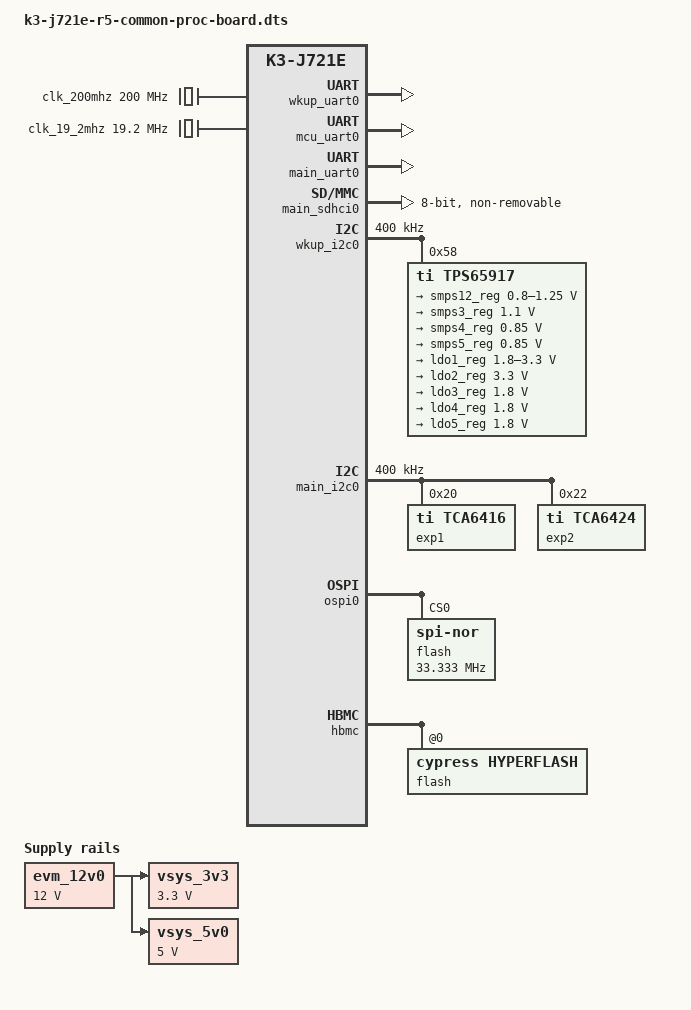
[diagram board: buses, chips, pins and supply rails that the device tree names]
// SPDX-License-Identifier: GPL-2.0
/*
 * Copyright (C) 2019 Texas Instruments Incorporated - http://www.ti.com/
 */

/dts-v1/;

#include "k3-j721e-som-p0.dtsi"

/ {
	aliases {
		remoteproc0 = &sysctrler;
		remoteproc1 = &a72_0;
		remoteproc2 = &main_r5fss0_core0;
		remoteproc3 = &main_r5fss0_core1;
	};

	chosen {
		stdout-path = "serial2:115200n8";
		tick-timer = &timer1;
		firmware-loader = &fs_loader0;
	};

	fs_loader0: fs_loader@0 {
		u-boot,dm-pre-reloc;
		compatible = "u-boot,fs-loader";
	};

	a72_0: a72@0 {
		compatible = "ti,am654-rproc";
		reg = <0x0 0x00a90000 0x0 0x10>;
		power-domains = <&k3_pds 61 TI_SCI_PD_SHARED>,
				<&k3_pds 202 TI_SCI_PD_SHARED>;
		resets = <&k3_reset 202 0>;
		assigned-clocks = <&k3_clks 202 2>, <&k3_clks 61 1>;
		assigned-clock-rates = <2000000000>, <200000000>;
		ti,sci = <&dmsc>;
		ti,sci-proc-id = <32>;
		ti,sci-host-id = <10>;
		u-boot,dm-spl;
	};

	clk_200mhz: dummy_clock {
		compatible = "fixed-clock";
		#clock-cells = <0>;
		clock-frequency = <200000000>;
		u-boot,dm-spl;
	};

	clk_19_2mhz: dummy_clock {
		compatible = "fixed-clock";
		#clock-cells = <0>;
		clock-frequency = <19200000>;
		u-boot,dm-spl;
	};

	memorycontroller: memorycontroller@02980000 {
		compatible = "ti,j721e-ddrss";
		reg = <0x0 0x02990000 0x0 0x4000>;
		power-domains = <&k3_pds 47 TI_SCI_PD_SHARED>,
				<&k3_pds 90 TI_SCI_PD_SHARED>;
		clocks = <&k3_clks 47 2>, <&k3_clks 30 9>;

		u-boot,dm-spl;
	};

};

&cbass_mcu_wakeup {
	mcu_secproxy: secproxy@28380000 {
		u-boot,dm-spl;
		compatible = "ti,am654-secure-proxy";
		reg = <0x0 0x2a380000 0x0 0x80000>,
		      <0x0 0x2a400000 0x0 0x80000>,
		      <0x0 0x2a480000 0x0 0x80000>;
		reg-names = "rt", "scfg", "target_data";
		#mbox-cells = <1>;
	};

	sysctrler: sysctrler {
		u-boot,dm-spl;
		compatible = "ti,am654-system-controller";
		mboxes= <&mcu_secproxy 4>, <&mcu_secproxy 5>;
		mbox-names = "tx", "rx";
	};

	evm_12v0: fixedregulator-evm12v0 {
		/* main supply */
		compatible = "regulator-fixed";
		regulator-name = "evm_12v0";
		regulator-min-microvolt = <12000000>;
		regulator-max-microvolt = <12000000>;
		regulator-always-on;
		regulator-boot-on;
		u-boot,dm-spl;
	};

	vsys_3v3: fixedregulator-vsys3v3 {
		/* Output of LMS140 */
		compatible = "regulator-fixed";
		regulator-name = "vsys_3v3";
		regulator-min-microvolt = <3300000>;
		regulator-max-microvolt = <3300000>;
		vin-supply = <&evm_12v0>;
		regulator-always-on;
		regulator-boot-on;
		u-boot,dm-spl;
	};

	vsys_5v0: fixedregulator-vsys5v0 {
		/* Output of LM5140 */
		compatible = "regulator-fixed";
		regulator-name = "vsys_5v0";
		regulator-min-microvolt = <5000000>;
		regulator-max-microvolt = <5000000>;
		vin-supply = <&evm_12v0>;
		regulator-always-on;
		regulator-boot-on;
		u-boot,dm-spl;
	};
};

&dmsc {
	mboxes= <&mcu_secproxy 8>, <&mcu_secproxy 6>, <&mcu_secproxy 5>;
	mbox-names = "tx", "rx", "notify";
	ti,host-id = <4>;
	ti,secure-host;
};

&wkup_pmx0 {
	wkup_uart0_pins_default: wkup_uart0_pins_default {
		u-boot,dm-spl;
		pinctrl-single,pins = <
			J721E_WKUP_IOPAD(0xa0, PIN_INPUT, 0) /* (J29) WKUP_UART0_RXD */
			J721E_WKUP_IOPAD(0xa4, PIN_OUTPUT, 0) /* (J28) WKUP_UART0_TXD */
		>;
	};

	mcu_uart0_pins_default: mcu_uart0_pins_default {
		u-boot,dm-spl;
		pinctrl-single,pins = <
			J721E_WKUP_IOPAD(0xe8, PIN_INPUT, 0) /* (H29) WKUP_GPIO0_14.MCU_UART0_CTSn */
			J721E_WKUP_IOPAD(0xec, PIN_OUTPUT, 0) /* (J27) WKUP_GPIO0_15.MCU_UART0_RTSn */
			J721E_WKUP_IOPAD(0xe4, PIN_INPUT, 0) /* (H28) WKUP_GPIO0_13.MCU_UART0_RXD */
			J721E_WKUP_IOPAD(0xe0, PIN_OUTPUT, 0) /* (G29) WKUP_GPIO0_12.MCU_UART0_TXD */
		>;
	};

	wkup_i2c0_pins_default: wkup-i2c0-pins-default {
		pinctrl-single,pins = <
			J721E_WKUP_IOPAD(0xf8, PIN_INPUT_PULLUP, 0) /* (J25) WKUP_I2C0_SCL */
			J721E_WKUP_IOPAD(0xfc, PIN_INPUT_PULLUP, 0) /* (H24) WKUP_I2C0_SDA */
		>;
	};

	mcu_fss0_ospi0_pins_default: mcu-fss0-ospi0-pins-default {
		pinctrl-single,pins = <
			J721E_WKUP_IOPAD(0x0000, PIN_OUTPUT, 0) /* MCU_OSPI0_CLK */
			J721E_WKUP_IOPAD(0x0008, PIN_INPUT, 0)  /* MCU_OSPI0_DQS */
			J721E_WKUP_IOPAD(0x000c, PIN_INPUT, 0)  /* MCU_OSPI0_D0 */
			J721E_WKUP_IOPAD(0x0010, PIN_INPUT, 0)  /* MCU_OSPI0_D1 */
			J721E_WKUP_IOPAD(0x0014, PIN_INPUT, 0)  /* MCU_OSPI0_D2 */
			J721E_WKUP_IOPAD(0x0018, PIN_INPUT, 0)  /* MCU_OSPI0_D3 */
			J721E_WKUP_IOPAD(0x001c, PIN_INPUT, 0)  /* MCU_OSPI0_D4 */
			J721E_WKUP_IOPAD(0x0020, PIN_INPUT, 0)  /* MCU_OSPI0_D5 */
			J721E_WKUP_IOPAD(0x0024, PIN_INPUT, 0)  /* MCU_OSPI0_D6 */
			J721E_WKUP_IOPAD(0x0028, PIN_INPUT, 0)  /* MCU_OSPI0_D7 */
			J721E_WKUP_IOPAD(0x002c, PIN_OUTPUT, 0) /* MCU_OSPI0_CSn0 */
		>;
	};

	mcu_fss0_hpb0_pins_default: mcu-fss0-hpb0-pins-default {
		pinctrl-single,pins = <
			J721E_WKUP_IOPAD(0x0, PIN_OUTPUT, 1) /* (E20) MCU_OSPI0_CLK.MCU_HYPERBUS0_CK */
			J721E_WKUP_IOPAD(0x4, PIN_OUTPUT, 1) /* (C21) MCU_OSPI0_LBCLKO.MCU_HYPERBUS0_CKn */
			J721E_WKUP_IOPAD(0x2c, PIN_OUTPUT, 1) /* (F19) MCU_OSPI0_CSn0.MCU_HYPERBUS0_CSn0 */
			J721E_WKUP_IOPAD(0x54, PIN_OUTPUT, 3) /* (E22) MCU_OSPI1_CSn1.MCU_HYPERBUS0_CSn1 */
			J721E_WKUP_IOPAD(0x30, PIN_OUTPUT, 1) /* (E19) MCU_OSPI0_CSn1.MCU_HYPERBUS0_RESETn */
			J721E_WKUP_IOPAD(0x8, PIN_INPUT, 1) /* (D21) MCU_OSPI0_DQS.MCU_HYPERBUS0_RWDS */
			J721E_WKUP_IOPAD(0xc, PIN_INPUT, 1) /* (D20) MCU_OSPI0_D0.MCU_HYPERBUS0_DQ0 */
			J721E_WKUP_IOPAD(0x10, PIN_INPUT, 1) /* (G19) MCU_OSPI0_D1.MCU_HYPERBUS0_DQ1 */
			J721E_WKUP_IOPAD(0x14, PIN_INPUT, 1) /* (G20) MCU_OSPI0_D2.MCU_HYPERBUS0_DQ2 */
			J721E_WKUP_IOPAD(0x18, PIN_INPUT, 1) /* (F20) MCU_OSPI0_D3.MCU_HYPERBUS0_DQ3 */
			J721E_WKUP_IOPAD(0x1c, PIN_INPUT, 1) /* (F21) MCU_OSPI0_D4.MCU_HYPERBUS0_DQ4 */
			J721E_WKUP_IOPAD(0x20, PIN_INPUT, 1) /* (E21) MCU_OSPI0_D5.MCU_HYPERBUS0_DQ5 */
			J721E_WKUP_IOPAD(0x24, PIN_INPUT, 1) /* (B22) MCU_OSPI0_D6.MCU_HYPERBUS0_DQ6 */
			J721E_WKUP_IOPAD(0x28, PIN_INPUT, 1) /* (G21) MCU_OSPI0_D7.MCU_HYPERBUS0_DQ7 */
		>;
	};
};

&main_pmx0 {
	main_uart0_pins_default: main_uart0_pins_default {
		u-boot,dm-spl;
		pinctrl-single,pins = <
			J721E_IOPAD(0x1d4, PIN_INPUT, 1) /* (Y3) SPI1_CS0.UART0_CTSn */
			J721E_IOPAD(0x1c0, PIN_OUTPUT, 1) /* (AA2) SPI0_CS0.UART0_RTSn */
			J721E_IOPAD(0x1e8, PIN_INPUT, 0) /* (AB2) UART0_RXD */
			J721E_IOPAD(0x1ec, PIN_OUTPUT, 0) /* (AB3) UART0_TXD */
		>;
	};

	main_i2c0_pins_default: main-i2c0-pins-default {
		pinctrl-single,pins = <
			J721E_IOPAD(0x220, PIN_INPUT_PULLUP, 0) /* (AC5) I2C0_SCL */
			J721E_IOPAD(0x224, PIN_INPUT_PULLUP, 0) /* (AA5) I2C0_SDA */
		>;
	};

	main_mmc1_pins_default: main_mmc1_pins_default {
		pinctrl-single,pins = <
			J721E_IOPAD(0x254, PIN_INPUT, 0) /* (R29) MMC1_CMD */
			J721E_IOPAD(0x250, PIN_INPUT, 0) /* (P25) MMC1_CLK */
			J721E_IOPAD(0x24c, PIN_INPUT, 0) /* (R24) MMC1_DAT0 */
			J721E_IOPAD(0x248, PIN_INPUT, 0) /* (P24) MMC1_DAT1 */
			J721E_IOPAD(0x244, PIN_INPUT, 0) /* (R25) MMC1_DAT2 */
			J721E_IOPAD(0x240, PIN_INPUT, 0) /* (R26) MMC1_DAT3 */
			J721E_IOPAD(0x258, PIN_INPUT, 0) /* (P23) MMC1_SDCD */
			J721E_IOPAD(0x25c, PIN_INPUT, 0) /* (R28) MMC1_SDWP */
			J721E_IOPAD(0x2ac, PIN_INPUT, 0)
		>;
	};

	main_usbss0_pins_default: main_usbss0_pins_default {
		pinctrl-single,pins = <
			J721E_IOPAD(0x290, PIN_OUTPUT, 0) /* (U6) USB0_DRVVBUS */
			J721E_IOPAD(0x210, PIN_INPUT, 7) /* (W3) MCAN1_RX.GPIO1_3 */
		>;
	};
};

&wkup_uart0 {
	u-boot,dm-spl;
	pinctrl-names = "default";
	pinctrl-0 = <&wkup_uart0_pins_default>;
	status = "okay";
};

&mcu_uart0 {
	/delete-property/ power-domains;
	/delete-property/ clocks;
	/delete-property/ clock-names;
	pinctrl-names = "default";
	pinctrl-0 = <&mcu_uart0_pins_default>;
	status = "okay";
	clock-frequency = <48000000>;
};

&main_uart0 {
	pinctrl-names = "default";
	pinctrl-0 = <&main_uart0_pins_default>;
	status = "okay";
};

&main_sdhci0 {
	/delete-property/ power-domains;
	/delete-property/ assigned-clocks;
	/delete-property/ assigned-clock-parents;
	pinctrl-names = "default";
	pinctrl-0 = <&main_mmc1_pins_default>;
	clock-names = "clk_xin";
	clocks = <&clk_200mhz>;
	ti,driver-strength-ohm = <50>;
	non-removable;
	bus-width = <8>;
};

&main_sdhci1 {
	/delete-property/ power-domains;
	/delete-property/ assigned-clocks;
	/delete-property/ assigned-clock-parents;
	clock-names = "clk_xin";
	clocks = <&clk_200mhz>;
	ti,driver-strength-ohm = <50>;
};

&wkup_i2c0 {
	pinctrl-names = "default";
	pinctrl-0 = <&wkup_i2c0_pins_default>;
	clock-frequency = <400000>;
	u-boot,dm-spl;

	tps65917: tps65917@58 {
		reg = <0x58>;
		compatible = "ti,tps65917";
		interrupt-controller;
		#interrupt-cells = <2>;
		u-boot,dm-spl;

		ti,system-power-controller;

		tps65917_pmic {
			compatible = "ti,tps65917-pmic";

			smps1-in-supply = <&vsys_3v3>;
			smps2-in-supply = <&vsys_3v3>;
			smps3-in-supply = <&vsys_3v3>;
			smps4-in-supply = <&vsys_3v3>;
			smps5-in-supply = <&vsys_3v3>;
			ldo1-in-supply = <&vsys_3v3>;
			ldo2-in-supply = <&vsys_3v3>;
			ldo3-in-supply = <&vsys_3v3>;
			ldo4-in-supply = <&vsys_3v3>;
			ldo5-in-supply = <&vsys_3v3>;
			u-boot,dm-spl;

			tps65917_regulators: regulators {
				u-boot,dm-spl;
				smps12_reg: smps12 {
					/* VDD_CPU_AVS_REG */
					regulator-name = "smps1";
					regulator-min-microvolt = <800000>;
					regulator-max-microvolt = <1250000>;
					regulator-always-on;
					regulator-boot-on;
					u-boot,dm-spl;
				};

				smps3_reg: smps3 {
					/* V917_SMPS3_1V1 */
					regulator-name = "smps3";
					regulator-min-microvolt = <1100000>;
					regulator-max-microvolt = <1100000>;
					regulator-boot-on;
					regulator-always-on;
					u-boot,dm-spl;
				};

				smps4_reg: smps4 {
					/* VDD_CORE_RAM_0V85_REG */
					regulator-name = "smps4";
					regulator-min-microvolt = <850000>;
					regulator-max-microvolt = <850000>;
					regulator-always-on;
					regulator-boot-on;
					u-boot,dm-spl;
				};

				smps5_reg: smps5 {
					/* VDD_CPU_RAM_0V85_REG */
					regulator-name = "smps5";
					regulator-min-microvolt = <850000>;
					regulator-max-microvolt = <850000>;
					regulator-boot-on;
					regulator-always-on;
					u-boot,dm-spl;
				};

				ldo1_reg: ldo1 {
					/* LDO1_OUT --> VDD_SD_DV_REG  */
					regulator-name = "ldo1";
					regulator-min-microvolt = <1800000>;
					regulator-max-microvolt = <3300000>;
					regulator-always-on;
					regulator-boot-on;
					regulator-allow-bypass;
					u-boot,dm-spl;
				};

				ldo2_reg: ldo2 {
					/* VDA_USB_3V3_REG */
					regulator-name = "ldo2";
					regulator-min-microvolt = <3300000>;
					regulator-max-microvolt = <3300000>;
					regulator-allow-bypass;
					u-boot,dm-spl;
				};

				ldo3_reg: ldo3 {
					/* VDA_PLL_1V8_REG */
					regulator-name = "ldo3";
					regulator-min-microvolt = <1800000>;
					regulator-max-microvolt = <1800000>;
					regulator-boot-on;
					regulator-always-on;
					u-boot,dm-spl;
				};

				ldo4_reg: ldo4 {
					/* V917_LDO4_1V8 */
					regulator-name = "ldo4";
					regulator-min-microvolt = <1800000>;
					regulator-max-microvolt = <1800000>;
					regulator-boot-on;
					u-boot,dm-spl;
				};

				ldo5_reg: ldo5 {
					/* VPP_EFUSE_1V8 */
					regulator-name = "ldo5";
					regulator-min-microvolt = <1800000>;
					regulator-max-microvolt = <1800000>;
					regulator-always-on;
					regulator-boot-on;
					u-boot,dm-spl;
				};
			};
		};
	};
};

&main_r5fss0 {
	u-boot,dm-spl;
};

&main_r5fss0_core0 {
	u-boot,dm-spl;
};

&main_r5fss0_core1 {
	u-boot,dm-spl;
};

&wkup_vtm0 {
	vdd-supply-2 = <&smps12_reg>;
	u-boot,dm-spl;
};

&main_i2c0 {
	pinctrl-names = "default";
	pinctrl-0 = <&main_i2c0_pins_default>;
	clock-frequency = <400000>;

	exp1: gpio@20 {
		compatible = "ti,tca6416";
		reg = <0x20>;
		gpio-controller;
		#gpio-cells = <2>;
	};

	exp2: gpio@22 {
		compatible = "ti,tca6424";
		reg = <0x22>;
		gpio-controller;
		#gpio-cells = <2>;
	};
};

&ospi0 {
	pinctrl-names = "default";
	pinctrl-0 = <&mcu_fss0_ospi0_pins_default>;

	reg = <0x0 0x47040000 0x0 0x100>,
	      <0x0 0x50000000 0x0 0x8000000>;

	flash@0 {
		compatible = "jedec,spi-nor";
		reg = <0x0>;
		spi-tx-bus-width = <8>;
		spi-rx-bus-width = <8>;
		spi-max-frequency = <33333334>;
		cdns,tshsl-ns = <60>;
		cdns,tsd2d-ns = <60>;
		cdns,tchsh-ns = <60>;
		cdns,tslch-ns = <60>;
		cdns,read-delay = <0>;
		cdns,phy-mode;
		#address-cells = <1>;
		#size-cells = <1>;
		u-boot,dm-spl;
	};
};

&hbmc {
	status = "okay";
	pinctrl-names = "default";
	pinctrl-0 = <&mcu_fss0_hpb0_pins_default>;
	reg = <0x0 0x47040000 0x0 0x100>,
	      <0x0 0x50000000 0x0 0x8000000>;
	ranges = <0x0 0x0 0x0 0x50000000 0x4000000>, /* 64MB Flash on CS0 */
		 <0x1 0x0 0x0 0x54000000 0x800000>; /* 8MB flash on CS1 */

	flash@0,0 {
		compatible = "cypress,hyperflash", "cfi-flash";
		reg = <0x0 0x0 0x4000000>;
	};
};

&usbss0 {
	/delete-property/ power-domains;
	/delete-property/ assigned-clocks;
	/delete-property/ assigned-clock-parents;
	clocks = <&clk_19_2mhz>;
	clock-names = "usb2_refclk";
	pinctrl-names = "default";
	pinctrl-0 = <&main_usbss0_pins_default>;
	ti,vbus-divider;
};

#include "k3-j721e-common-proc-board-u-boot.dtsi"
